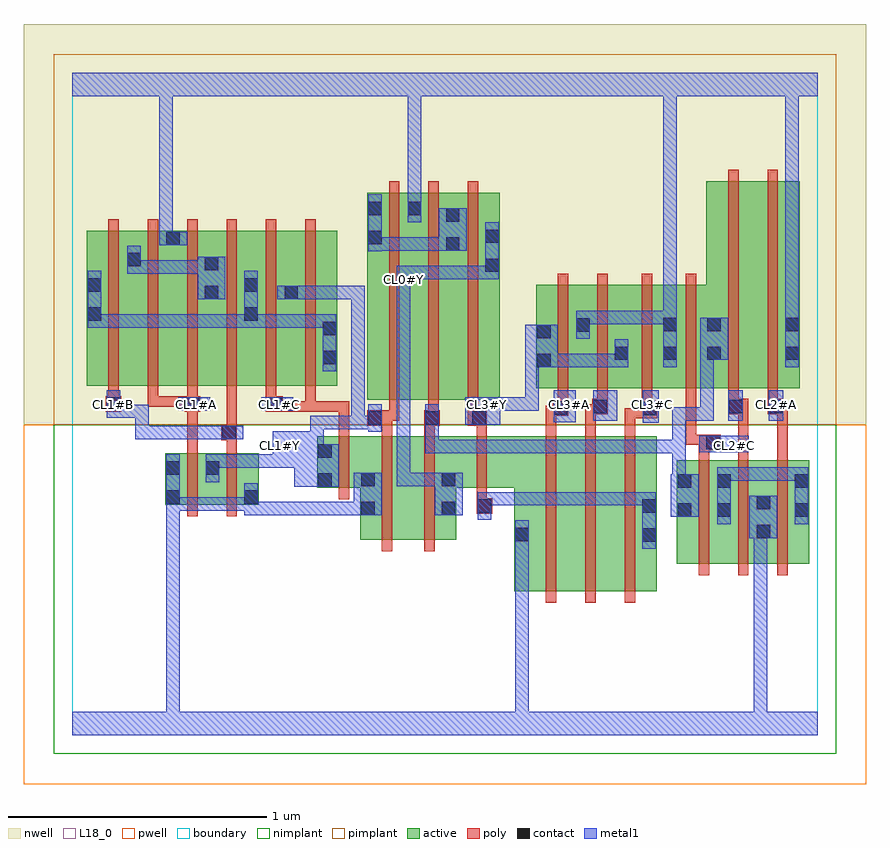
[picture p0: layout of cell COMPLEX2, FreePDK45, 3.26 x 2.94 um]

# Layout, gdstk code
import gdstk
lib = gdstk.Library(unit=1e-6, precision=1e-09)
def R(c, l, rs):  # rectangles x0, y0, x1, y1
    for r in rs: c.add(gdstk.rectangle(r[:2], r[2:], *l))
def A(c, l, x, y, w, h, nx, ny, dx, dy):  # array of equal rectangles
    R(c, l, [(x+i*dx, y+j*dy, x+i*dx+w, y+j*dy+h) for i in range(nx) for j in range(ny)])
active = (1, 0)
pwell = (2, 0)
nwell = (3, 0)
nimplant = (4, 0)
pimplant = (5, 0)
poly = (9, 0)
contact = (10, 0)
metal1 = (11, 0)
L18_0 = (18, 0)
boundary = (235, 0)

complex2 = lib.new_cell('COMPLEX2')
A(complex2, active, 0.056, 1.35, 0.06, 0.6, 3, 1, 0.152, 0)
R(complex2, active, [(1.708,0.556,1.926,1.156), (1.708,0.556,1.768,1.028), (1.926,0.556,2.078,1.156), (2.078,0.556,2.258,1.156), (2.198,0.556,2.258,1.156), (2.336,0.662,2.548,1.062), (2.336,0.662,2.396,1.062), (2.488,0.662,2.7,1.062), (2.64,0.662,2.848,1.062), (2.64,0.662,2.7,0.93), (2.488,0.672,2.548,1.012), (2.788,0.672,2.848,1.062), (1.112,0.756,1.172,1.156), (1.112,0.756,1.304,1.156), (1.304,0.756,1.484,1.156), (1.424,0.756,1.484,1.156), (0.36,0.89,0.42,1.09), (0.36,0.89,0.572,1.09), (0.512,0.89,0.72,1.09), (0.66,0.89,0.72,1.09), (0.512,0.892,0.572,1.062), (0.946,0.956,1.172,1.156), (0.946,0.956,1.006,1.156), (1.424,0.956,1.768,1.156), (1.14,1.296,1.352,2.096), (1.292,1.296,1.5,2.096), (1.44,1.296,1.652,2.096), (1.592,1.296,1.652,2.044), (1.792,1.34,2.004,1.74), (1.792,1.34,1.852,1.74), (1.944,1.34,2.152,1.74), (1.944,1.34,2.004,1.74), (2.092,1.34,2.34,1.74), (2.28,1.34,2.34,1.74), (2.28,1.34,2.51,1.74), (2.45,1.34,2.63,2.14), (2.63,1.34,2.81,2.14), (2.75,1.34,2.81,2.044), (0.056,1.35,0.268,1.95), (0.208,1.35,0.42,1.95), (0.36,1.35,0.568,1.95), (0.508,1.35,0.568,1.95), (0.508,1.35,0.72,1.95), (0.66,1.35,0.72,1.95), (0.66,1.35,0.876,1.95), (0.816,1.35,0.876,1.844), (0.816,1.35,1.024,1.95), (0.964,1.35,1.024,1.844), (1.44,1.388,1.5,2.096), (2.45,1.388,2.51,2.14), (2.092,1.446,2.152,1.644), (1.14,1.452,1.2,2.096), (1.292,1.686,1.352,2.096)])
R(complex2, pwell, [(-0.188,-0.188,3.068,1.2)])
R(complex2, nwell, [(-0.188,1.2,3.068,2.748)])
R(complex2, nimplant, [(-0.072,-0.072,2.952,1.2)])
R(complex2, pimplant, [(-0.072,1.2,2.952,2.632)])
A(complex2, poly, 1.83, 0.512, 0.04, 0.688, 3, 1, 0.152, 0)
A(complex2, poly, 2.42, 0.618, 0.04, 0.488, 3, 1, 0.152, 0)
A(complex2, poly, 1.224, 1.216, 0.04, 0.076, 3, 1, 0.152, 0)
A(complex2, poly, 1.224, 1.252, 0.04, 0.888, 3, 1, 0.152, 0)
A(complex2, poly, 0.14, 1.27, 0.04, 0.076, 3, 1, 0.152, 0)
A(complex2, poly, 0.14, 1.306, 0.04, 0.688, 6, 1, 0.152, 0)
R(complex2, poly, [(1.196,0.712,1.236,1.2), (1.36,0.712,1.4,1.2), (0.444,0.846,0.484,1.134), (0.596,0.846,0.636,1.134), (1.562,0.856,1.622,0.916), (1.562,0.876,1.602,0.952), (1.03,0.912,1.07,1.2), (1.562,0.912,1.602,1.2), (2.42,1.066,2.46,1.142), (2.572,1.066,2.612,1.28), (2.724,1.066,2.764,1.28), (0.444,1.094,0.484,1.29), (0.596,1.094,0.636,1.18), (2.42,1.102,2.506,1.162), (2.37,1.122,2.41,1.336), (2.37,1.122,2.46,1.162), (2.42,1.122,2.46,1.162), (0.576,1.14,0.636,1.2), (0.596,1.16,0.636,1.2), (0.596,1.16,0.636,1.2), (0.596,1.16,0.636,1.346), (1.03,1.16,1.07,1.29), (1.196,1.16,1.236,1.236), (1.36,1.16,1.4,1.236), (1.562,1.16,1.602,1.236), (1.83,1.16,1.87,1.274), (1.982,1.16,2.022,1.28), (2.134,1.16,2.174,1.264), (1.14,1.196,1.236,1.256), (1.36,1.196,1.42,1.256), (1.528,1.196,1.602,1.256), (1.562,1.196,1.602,1.236), (1.562,1.196,1.602,1.236), (1.196,1.216,1.236,1.256), (1.196,1.216,1.264,1.256), (1.376,1.216,1.416,1.256), (1.376,1.216,1.416,1.256), (2.134,1.224,2.24,1.264), (2.2,1.224,2.24,1.264), (2.2,1.224,2.26,1.292), (1.83,1.234,1.896,1.274), (1.856,1.234,1.896,1.274), (1.856,1.234,1.916,1.294), (1.982,1.24,2.048,1.28), (2.008,1.24,2.048,1.28), (2.008,1.24,2.068,1.3), (2.534,1.24,2.612,1.3), (2.572,1.24,2.612,1.28), (2.572,1.24,2.612,1.28), (2.686,1.24,2.746,1.3), (2.706,1.24,2.746,1.28), (2.706,1.24,2.764,1.28), (0.13,1.25,0.19,1.31), (0.434,1.25,0.494,1.31), (0.444,1.25,0.484,1.29), (0.444,1.25,0.484,1.29), (0.748,1.25,0.814,1.31), (0.774,1.25,0.94,1.29), (0.9,1.25,0.94,1.29), (0.9,1.25,0.94,1.29), (0.9,1.25,0.94,1.29), (0.9,1.25,0.94,1.29), (0.9,1.25,0.94,1.346), (0.9,1.25,1.07,1.29), (2.2,1.252,2.24,1.336), (1.876,1.254,1.916,1.336), (2.028,1.26,2.068,1.336), (2.534,1.26,2.574,1.336), (2.686,1.26,2.726,1.336), (0.14,1.27,0.18,1.31), (0.14,1.27,0.18,1.31), (0.292,1.27,0.332,1.31), (0.292,1.27,0.474,1.31), (0.434,1.27,0.474,1.31), (0.434,1.27,0.474,1.31), (0.748,1.27,0.788,1.346), (1.876,1.296,1.916,1.784), (2.028,1.296,2.068,1.784), (2.2,1.296,2.24,1.784), (2.37,1.296,2.41,1.784), (2.534,1.296,2.574,2.184), (2.686,1.296,2.726,2.184)])
R(complex2, contact, [(2.202,0.748,2.254,0.8), (1.712,0.75,1.764,0.802), (2.644,0.762,2.696,0.814), (2.34,0.844,2.392,0.896), (2.492,0.844,2.544,0.896), (2.792,0.844,2.844,0.896), (1.116,0.85,1.168,0.902), (1.428,0.85,1.48,0.902), (1.566,0.86,1.618,0.912), (2.202,0.86,2.254,0.912), (2.644,0.874,2.696,0.926), (0.364,0.894,0.416,0.946), (0.664,0.894,0.716,0.946), (2.34,0.956,2.392,1.008), (2.492,0.956,2.544,1.008), (2.792,0.956,2.844,1.008), (0.95,0.96,1.002,1.012), (1.116,0.962,1.168,1.014), (1.428,0.962,1.48,1.014), (0.364,1.006,0.416,1.058), (0.516,1.006,0.568,1.058), (0.95,1.072,1.002,1.124), (2.45,1.106,2.502,1.158), (0.58,1.144,0.632,1.196), (1.144,1.2,1.196,1.252), (1.364,1.2,1.416,1.252), (1.546,1.2,1.598,1.252), (2.204,1.236,2.256,1.288), (1.86,1.238,1.912,1.29), (2.012,1.244,2.064,1.296), (2.538,1.244,2.59,1.296), (2.69,1.244,2.742,1.296), (0.134,1.254,0.186,1.306), (0.438,1.254,0.49,1.306), (0.758,1.254,0.81,1.306), (1.796,1.422,1.848,1.474), (0.968,1.434,1.02,1.486), (2.096,1.45,2.148,1.502), (2.284,1.45,2.336,1.502), (2.454,1.45,2.506,1.502), (2.754,1.45,2.806,1.502), (1.796,1.534,1.848,1.586), (0.968,1.546,1.02,1.598), (1.948,1.56,2,1.612), (2.284,1.562,2.336,1.614), (2.454,1.562,2.506,1.614), (2.754,1.562,2.806,1.614), (0.06,1.602,0.112,1.654), (0.664,1.602,0.716,1.654), (0.512,1.684,0.564,1.736), (0.82,1.684,0.872,1.736), (0.06,1.714,0.112,1.766), (0.664,1.714,0.716,1.766), (1.596,1.79,1.648,1.842), (0.512,1.796,0.564,1.848), (0.212,1.812,0.264,1.864), (1.444,1.872,1.496,1.924), (0.364,1.894,0.416,1.946), (1.144,1.898,1.196,1.95), (1.596,1.902,1.648,1.954), (1.444,1.984,1.496,2.036), (1.144,2.01,1.196,2.062), (1.296,2.01,1.348,2.062)])
R(complex2, metal1, [(0,0,2.88,0.092), (0.364,0.04,0.416,0.092), (0.364,0.04,0.416,0.092), (0.364,0.04,0.416,0.092), (0.364,0.04,0.416,0.092), (0.364,0.04,0.416,0.092), (0.364,0.04,0.416,0.092), (0.364,0.04,0.416,0.092), (0.364,0.04,0.416,0.092), (0.364,0.04,0.416,0.092), (0.364,0.04,0.416,0.092), (0.364,0.04,0.416,0.092), (0.364,0.04,0.416,0.092), (0.364,0.04,0.416,0.092), (0.364,0.04,0.416,0.092), (0.364,0.04,0.416,0.092), (0.364,0.04,0.416,0.092), (0.364,0.04,0.416,0.918), (1.712,0.04,1.764,0.092), (1.712,0.04,1.764,0.092), (1.712,0.04,1.764,0.092), (1.712,0.04,1.764,0.092), (1.712,0.04,1.764,0.092), (1.712,0.04,1.764,0.092), (1.712,0.04,1.764,0.092), (1.712,0.04,1.764,0.092), (1.712,0.04,1.764,0.774), (2.632,0.04,2.684,0.092), (2.632,0.04,2.684,0.092), (2.632,0.04,2.684,0.092), (2.632,0.04,2.684,0.092), (2.632,0.04,2.684,0.092), (2.632,0.04,2.684,0.092), (2.632,0.04,2.684,0.092), (2.632,0.04,2.684,0.092), (2.632,0.04,2.684,0.092), (2.632,0.04,2.684,0.092), (2.632,0.04,2.684,0.092), (2.632,0.04,2.684,0.092), (2.632,0.04,2.684,0.814), (2.202,0.72,2.254,0.94), (1.712,0.722,1.764,0.83), (2.616,0.762,2.724,0.926), (2.492,0.816,2.544,1.036), (2.792,0.816,2.844,1.036), (1.566,0.832,1.618,0.94), (2.312,0.844,2.42,1.008), (0.664,0.85,0.91,0.902), (0.664,0.85,0.716,0.918), (0.858,0.85,0.91,0.902), (0.858,0.85,0.91,0.902), (0.858,0.85,0.91,0.902), (0.858,0.85,1.14,0.902), (1.088,0.85,1.196,1.014), (1.4,0.85,1.508,1.014), (0.364,0.866,0.416,1.086), (0.664,0.866,0.716,0.918), (0.664,0.866,0.716,0.974), (0.364,0.868,0.416,0.92), (0.364,0.868,0.416,0.92), (0.364,0.868,0.604,0.92), (0.552,0.868,0.604,0.92), (0.552,0.868,0.604,0.92), (0.552,0.868,0.604,0.92), (0.552,0.868,0.716,0.92), (1.566,0.888,1.618,0.94), (1.566,0.888,1.618,0.94), (1.566,0.888,1.618,0.94), (1.566,0.888,1.618,0.94), (1.566,0.888,1.618,0.94), (1.566,0.888,1.618,0.94), (1.566,0.888,1.876,0.94), (1.824,0.888,1.876,0.94), (1.824,0.888,1.876,0.94), (1.824,0.888,1.876,0.94), (1.824,0.888,1.986,0.94), (1.934,0.888,1.986,0.94), (1.934,0.888,1.986,0.94), (1.934,0.888,1.986,0.94), (1.934,0.888,2.11,0.94), (2.058,0.888,2.11,0.94), (2.058,0.888,2.11,0.94), (2.058,0.888,2.11,0.94), (2.058,0.888,2.254,0.94), (2.318,0.956,2.37,1.142), (0.858,0.96,1.03,1.124), (1.254,0.962,1.306,1.014), (1.254,0.962,1.452,1.014), (1.254,0.962,1.306,1.758), (1.4,0.962,1.452,1.014), (1.4,0.962,1.452,1.014), (0.516,0.978,0.568,1.086), (2.492,0.984,2.544,1.036), (2.492,0.984,2.544,1.036), (2.492,0.984,2.654,1.036), (2.602,0.984,2.654,1.036), (2.602,0.984,2.844,1.036), (2.792,0.984,2.844,1.036), (2.792,0.984,2.844,1.036), (0.516,1.034,0.568,1.086), (0.516,1.034,0.568,1.086), (0.516,1.034,0.714,1.086), (0.662,1.034,0.714,1.086), (0.662,1.034,0.714,1.086), (0.662,1.034,0.714,1.086), (0.662,1.034,0.91,1.086), (0.774,1.066,0.91,1.174), (0.858,1.066,0.91,1.118), (1.364,1.09,1.618,1.142), (1.364,1.09,1.416,1.224), (1.566,1.09,1.618,1.142), (1.566,1.09,1.618,1.142), (1.566,1.09,1.618,1.142), (1.566,1.09,1.876,1.142), (1.824,1.09,1.876,1.142), (1.824,1.09,1.876,1.142), (1.824,1.09,1.876,1.142), (1.824,1.09,1.986,1.142), (1.934,1.09,1.986,1.142), (1.934,1.09,1.986,1.142), (1.934,1.09,1.986,1.142), (1.934,1.09,2.11,1.142), (2.058,1.09,2.11,1.142), (2.058,1.09,2.22,1.142), (2.168,1.09,2.22,1.142), (2.168,1.09,2.22,1.142), (2.168,1.09,2.22,1.142), (2.168,1.09,2.37,1.142), (2.318,1.09,2.37,1.142), (2.318,1.09,2.37,1.268), (2.422,1.094,2.614,1.158), (0.858,1.122,0.972,1.174), (0.92,1.122,0.972,1.234), (0.244,1.144,0.296,1.278), (0.244,1.144,0.426,1.196), (0.374,1.144,0.426,1.196), (0.374,1.144,0.426,1.196), (0.374,1.144,0.426,1.196), (0.374,1.144,0.604,1.196), (0.552,1.144,0.604,1.196), (0.552,1.144,0.604,1.196), (0.552,1.144,0.66,1.196), (1.144,1.172,1.196,1.28), (1.364,1.172,1.416,1.224), (1.364,1.172,1.416,1.28), (0.92,1.182,1.02,1.234), (0.968,1.182,1.02,1.234), (0.968,1.182,1.13,1.234), (1.078,1.182,1.13,1.234), (1.078,1.182,1.13,1.234), (1.078,1.182,1.13,1.234), (1.078,1.182,1.13,1.234), (1.078,1.182,1.13,1.234), (1.078,1.182,1.196,1.234), (1.078,1.182,1.13,1.736), (1.518,1.2,1.654,1.306), (2.204,1.208,2.266,1.334), (1.86,1.21,1.946,1.334), (2.012,1.216,2.106,1.334), (2.318,1.216,2.37,1.268), (2.318,1.216,2.434,1.268), (2.382,1.216,2.434,1.268), (2.382,1.216,2.478,1.268), (2.426,1.216,2.478,1.268), (2.426,1.216,2.478,1.502), (2.534,1.216,2.59,1.334), (2.69,1.216,2.746,1.334), (0.134,1.226,0.186,1.334), (0.134,1.226,0.222,1.278), (0.17,1.226,0.222,1.278), (0.17,1.226,0.296,1.278), (0.41,1.254,0.534,1.306), (0.73,1.254,0.854,1.306), (1.602,1.254,1.766,1.306), (1.714,1.254,1.766,1.306), (1.714,1.254,1.802,1.306), (1.75,1.254,1.802,1.306), (1.75,1.254,1.802,1.474), (0.968,1.406,1.02,1.626), (1.75,1.422,1.876,1.586), (1.824,1.422,1.876,1.474), (1.824,1.422,1.876,1.474), (1.824,1.422,1.986,1.474), (1.934,1.422,1.986,1.474), (1.934,1.422,1.986,1.474), (1.934,1.422,1.986,1.474), (1.934,1.422,2.148,1.474), (2.096,1.422,2.148,1.53), (2.284,1.422,2.336,1.642), (2.754,1.422,2.806,1.642), (2.426,1.45,2.534,1.614), (1.948,1.532,2,1.64), (0.06,1.574,0.112,1.626), (0.06,1.574,0.112,1.626), (0.06,1.574,0.112,1.794), (0.06,1.574,0.222,1.626), (0.17,1.574,0.222,1.626), (0.17,1.574,0.296,1.626), (0.244,1.574,0.296,1.626), (0.244,1.574,0.406,1.626), (0.354,1.574,0.406,1.626), (0.354,1.574,0.406,1.626), (0.354,1.574,0.406,1.626), (0.354,1.574,0.536,1.626), (0.484,1.574,0.536,1.626), (0.484,1.574,0.536,1.626), (0.484,1.574,0.536,1.626), (0.484,1.574,0.716,1.626), (0.664,1.574,0.716,1.626), (0.664,1.574,0.716,1.626), (0.664,1.574,0.716,1.794), (0.664,1.574,0.91,1.626), (0.858,1.574,0.91,1.626), (0.858,1.574,0.91,1.626), (0.858,1.574,0.91,1.626), (0.858,1.574,1.02,1.626), (1.948,1.588,2,1.64), (1.948,1.588,2,1.64), (1.948,1.588,2.11,1.64), (2.058,1.588,2.11,1.64), (2.058,1.588,2.11,1.64), (2.058,1.588,2.11,1.64), (2.058,1.588,2.336,1.64), (2.284,1.59,2.336,1.642), (2.284,1.59,2.336,1.642), (2.284,1.59,2.336,2.52), (2.754,1.59,2.806,2.52), (0.484,1.684,0.592,1.848), (0.792,1.684,0.9,1.736), (0.848,1.684,0.9,1.736), (0.848,1.684,0.9,1.736), (0.848,1.684,1.02,1.736), (0.968,1.684,1.02,1.736), (0.968,1.684,1.13,1.736), (1.078,1.684,1.13,1.736), (1.254,1.706,1.306,1.814), (1.254,1.762,1.306,1.814), (1.254,1.762,1.306,1.814), (1.254,1.762,1.306,1.814), (1.254,1.762,1.306,1.814), (1.254,1.762,1.306,1.814), (1.254,1.762,1.306,1.814), (1.254,1.762,1.508,1.814), (1.456,1.762,1.508,1.814), (1.456,1.762,1.648,1.814), (1.596,1.762,1.648,1.814), (1.596,1.762,1.648,1.814), (1.596,1.762,1.648,1.982), (0.212,1.784,0.264,1.892), (0.212,1.784,0.296,1.836), (0.244,1.784,0.296,1.836), (0.244,1.784,0.426,1.836), (0.374,1.784,0.426,1.836), (0.374,1.784,0.426,1.836), (0.374,1.784,0.426,1.836), (0.374,1.784,0.536,1.836), (1.144,1.87,1.196,2.09), (1.144,1.872,1.196,1.924), (1.144,1.872,1.196,1.924), (1.144,1.872,1.306,1.924), (1.254,1.872,1.306,1.924), (1.254,1.872,1.306,1.924), (1.254,1.872,1.306,1.924), (1.254,1.872,1.468,1.924), (1.416,1.872,1.524,2.036), (0.336,1.894,0.388,1.946), (0.336,1.894,0.388,1.946), (0.336,1.894,0.388,1.946), (0.336,1.894,0.388,1.946), (0.336,1.894,0.444,1.946), (0.336,1.894,0.388,2.52), (1.296,1.982,1.348,2.09), (1.296,2.038,1.348,2.09), (1.296,2.038,1.348,2.09), (1.296,2.038,1.348,2.09), (1.296,2.038,1.348,2.09), (1.296,2.038,1.348,2.52), (0,2.468,2.88,2.56), (0.336,2.468,0.388,2.52), (0.336,2.468,0.388,2.52), (0.336,2.468,0.388,2.52), (0.336,2.468,0.388,2.52), (0.336,2.468,0.388,2.52), (0.336,2.468,0.388,2.52), (0.336,2.468,0.388,2.52), (0.336,2.468,0.388,2.52), (1.296,2.468,1.348,2.52), (1.296,2.468,1.348,2.52), (1.296,2.468,1.348,2.52), (1.296,2.468,1.348,2.52), (2.284,2.468,2.336,2.52), (2.284,2.468,2.336,2.52), (2.284,2.468,2.336,2.52), (2.284,2.468,2.336,2.52), (2.284,2.468,2.336,2.52), (2.284,2.468,2.336,2.52), (2.284,2.468,2.336,2.52), (2.284,2.468,2.336,2.52), (2.284,2.468,2.336,2.52), (2.284,2.468,2.336,2.52), (2.284,2.468,2.336,2.52), (2.284,2.468,2.336,2.52), (2.284,2.468,2.336,2.52), (2.284,2.468,2.336,2.52), (2.754,2.468,2.806,2.52), (2.754,2.468,2.806,2.52), (2.754,2.468,2.806,2.52), (2.754,2.468,2.806,2.52), (2.754,2.468,2.806,2.52), (2.754,2.468,2.806,2.52), (2.754,2.468,2.806,2.52), (2.754,2.468,2.806,2.52)])
A(complex2, L18_0, 0.134, 1.254, 0.052, 0.052, 3, 1, 0.32, 0)
A(complex2, L18_0, 1.894, 1.254, 0.052, 0.052, 3, 1, 0.16, 0)
R(complex2, L18_0, [(0,0,2.88,0.092), (0.364,0.04,0.416,0.092), (0.364,0.04,0.416,0.092), (0.364,0.04,0.416,0.092), (0.364,0.04,0.416,0.092), (0.364,0.04,0.416,0.092), (0.364,0.04,0.416,0.092), (0.364,0.04,0.416,0.092), (0.364,0.04,0.416,0.092), (0.364,0.04,0.416,0.092), (0.364,0.04,0.416,0.092), (0.364,0.04,0.416,0.092), (0.364,0.04,0.416,0.092), (0.364,0.04,0.416,0.092), (0.364,0.04,0.416,0.092), (0.364,0.04,0.416,0.092), (0.364,0.04,0.416,0.092), (0.364,0.04,0.416,0.918), (1.712,0.04,1.764,0.092), (1.712,0.04,1.764,0.092), (1.712,0.04,1.764,0.092), (1.712,0.04,1.764,0.092), (1.712,0.04,1.764,0.092), (1.712,0.04,1.764,0.092), (1.712,0.04,1.764,0.092), (1.712,0.04,1.764,0.092), (1.712,0.04,1.764,0.774), (2.632,0.04,2.684,0.092), (2.632,0.04,2.684,0.092), (2.632,0.04,2.684,0.092), (2.632,0.04,2.684,0.092), (2.632,0.04,2.684,0.092), (2.632,0.04,2.684,0.092), (2.632,0.04,2.684,0.092), (2.632,0.04,2.684,0.092), (2.632,0.04,2.684,0.092), (2.632,0.04,2.684,0.092), (2.632,0.04,2.684,0.092), (2.632,0.04,2.684,0.092), (2.632,0.04,2.684,0.814), (2.202,0.72,2.254,0.94), (1.712,0.722,1.764,0.83), (2.616,0.762,2.724,0.926), (1.566,0.832,1.618,0.94), (0.664,0.85,0.716,0.918), (0.664,0.85,0.91,0.902), (0.858,0.85,0.91,0.902), (0.858,0.85,0.91,0.902), (0.858,0.85,0.91,0.902), (0.858,0.85,1.14,0.902), (1.088,0.85,1.196,1.014), (1.4,0.85,1.508,1.014), (0.364,0.866,0.416,1.086), (0.664,0.866,0.716,0.974), (0.664,0.866,0.716,0.918), (0.364,0.868,0.416,0.92), (0.364,0.868,0.416,0.92), (0.364,0.868,0.604,0.92), (0.552,0.868,0.604,0.92), (0.552,0.868,0.604,0.92), (0.552,0.868,0.604,0.92), (0.552,0.868,0.716,0.92), (1.566,0.888,1.618,0.94), (1.566,0.888,1.618,0.94), (1.566,0.888,1.618,0.94), (1.566,0.888,1.618,0.94), (1.566,0.888,1.618,0.94), (1.566,0.888,1.618,0.94), (1.566,0.888,1.876,0.94), (1.824,0.888,1.876,0.94), (1.824,0.888,1.876,0.94), (1.824,0.888,1.876,0.94), (1.824,0.888,1.986,0.94), (1.934,0.888,1.986,0.94), (1.934,0.888,1.986,0.94), (1.934,0.888,1.986,0.94), (1.934,0.888,2.11,0.94), (2.058,0.888,2.11,0.94), (2.058,0.888,2.11,0.94), (2.058,0.888,2.11,0.94), (2.058,0.888,2.254,0.94), (0.858,0.96,1.03,1.124), (1.254,0.962,1.306,1.014), (1.254,0.962,1.452,1.014), (1.254,0.962,1.306,1.758), (1.4,0.962,1.452,1.014), (1.4,0.962,1.452,1.014), (0.516,0.978,0.568,1.086), (0.516,1.034,0.568,1.086), (0.516,1.034,0.568,1.086), (0.516,1.034,0.714,1.086), (0.662,1.034,0.714,1.086), (0.662,1.034,0.714,1.086), (0.662,1.034,0.714,1.086), (0.662,1.034,0.91,1.086), (0.774,1.066,0.91,1.174), (0.858,1.066,0.91,1.118), (0.774,1.094,0.826,1.146), (2.422,1.094,2.614,1.158), (2.534,1.094,2.586,1.146), (0.858,1.122,0.972,1.174), (0.92,1.122,0.972,1.234), (0.244,1.144,0.296,1.278), (0.244,1.144,0.426,1.196), (0.374,1.144,0.426,1.196), (0.374,1.144,0.426,1.196), (0.374,1.144,0.426,1.196), (0.374,1.144,0.604,1.196), (0.552,1.144,0.604,1.196), (0.552,1.144,0.604,1.196), (0.552,1.144,0.66,1.196), (1.144,1.172,1.196,1.28), (0.92,1.182,1.02,1.234), (0.968,1.182,1.02,1.234), (0.968,1.182,1.13,1.234), (1.078,1.182,1.13,1.234), (1.078,1.182,1.13,1.234), (1.078,1.182,1.13,1.234), (1.078,1.182,1.13,1.234), (1.078,1.182,1.13,1.234), (1.078,1.182,1.13,1.736), (1.078,1.182,1.196,1.234), (1.518,1.2,1.654,1.306), (2.204,1.208,2.266,1.334), (1.86,1.21,1.946,1.334), (2.012,1.216,2.106,1.334), (2.534,1.216,2.59,1.334), (2.69,1.216,2.746,1.334), (0.134,1.226,0.186,1.334), (0.134,1.226,0.222,1.278), (0.17,1.226,0.222,1.278), (0.17,1.226,0.296,1.278), (0.41,1.254,0.534,1.306), (0.73,1.254,0.854,1.306), (1.574,1.254,1.626,1.306), (1.602,1.254,1.766,1.306), (1.714,1.254,1.766,1.306), (1.714,1.254,1.802,1.306), (1.75,1.254,1.802,1.306), (1.75,1.254,1.802,1.474), (2.534,1.254,2.586,1.306), (2.694,1.254,2.746,1.306), (1.75,1.422,1.876,1.586), (1.824,1.422,1.876,1.474), (1.824,1.422,1.876,1.474), (1.824,1.422,1.986,1.474), (1.934,1.422,1.986,1.474), (1.934,1.422,1.986,1.474), (1.934,1.422,1.986,1.474), (1.934,1.422,2.148,1.474), (2.096,1.422,2.148,1.53), (2.284,1.422,2.336,1.642), (2.754,1.422,2.806,1.642), (1.948,1.532,2,1.64), (1.948,1.588,2,1.64), (1.948,1.588,2,1.64), (1.948,1.588,2.11,1.64), (2.058,1.588,2.11,1.64), (2.058,1.588,2.11,1.64), (2.058,1.588,2.11,1.64), (2.058,1.588,2.336,1.64), (2.284,1.59,2.336,1.642), (2.284,1.59,2.336,1.642), (2.284,1.59,2.336,2.52), (2.754,1.59,2.806,2.52), (0.792,1.684,0.9,1.736), (0.848,1.684,0.9,1.736), (0.848,1.684,0.9,1.736), (0.848,1.684,1.02,1.736), (0.968,1.684,1.02,1.736), (0.968,1.684,1.13,1.736), (1.078,1.684,1.13,1.736), (1.254,1.706,1.306,1.814), (1.254,1.734,1.306,1.786), (1.254,1.762,1.306,1.814), (1.254,1.762,1.306,1.814), (1.254,1.762,1.306,1.814), (1.254,1.762,1.306,1.814), (1.254,1.762,1.306,1.814), (1.254,1.762,1.306,1.814), (1.254,1.762,1.508,1.814), (1.456,1.762,1.508,1.814), (1.456,1.762,1.648,1.814), (1.596,1.762,1.648,1.814), (1.596,1.762,1.648,1.814), (1.596,1.762,1.648,1.982), (0.336,1.894,0.388,1.946), (0.336,1.894,0.388,1.946), (0.336,1.894,0.388,1.946), (0.336,1.894,0.388,1.946), (0.336,1.894,0.444,1.946), (0.336,1.894,0.388,2.52), (1.296,1.982,1.348,2.09), (1.296,2.038,1.348,2.09), (1.296,2.038,1.348,2.09), (1.296,2.038,1.348,2.09), (1.296,2.038,1.348,2.09), (1.296,2.038,1.348,2.52), (0,2.468,2.88,2.56), (0.336,2.468,0.388,2.52), (0.336,2.468,0.388,2.52), (0.336,2.468,0.388,2.52), (0.336,2.468,0.388,2.52), (0.336,2.468,0.388,2.52), (0.336,2.468,0.388,2.52), (0.336,2.468,0.388,2.52), (0.336,2.468,0.388,2.52), (1.296,2.468,1.348,2.52), (1.296,2.468,1.348,2.52), (1.296,2.468,1.348,2.52), (1.296,2.468,1.348,2.52), (2.284,2.468,2.336,2.52), (2.284,2.468,2.336,2.52), (2.284,2.468,2.336,2.52), (2.284,2.468,2.336,2.52), (2.284,2.468,2.336,2.52), (2.284,2.468,2.336,2.52), (2.284,2.468,2.336,2.52), (2.284,2.468,2.336,2.52), (2.284,2.468,2.336,2.52), (2.284,2.468,2.336,2.52), (2.284,2.468,2.336,2.52), (2.284,2.468,2.336,2.52), (2.284,2.468,2.336,2.52), (2.284,2.468,2.336,2.52), (2.754,2.468,2.806,2.52), (2.754,2.468,2.806,2.52), (2.754,2.468,2.806,2.52), (2.754,2.468,2.806,2.52), (2.754,2.468,2.806,2.52), (2.754,2.468,2.806,2.52), (2.754,2.468,2.806,2.52), (2.754,2.468,2.806,2.52)])
R(complex2, boundary, [(0,0,2.88,2.56)])
complex2.add(gdstk.Label('CL0#Y', (1.28,1.76), layer=11, texttype=0))
complex2.add(gdstk.Label('CL1#A', (0.48,1.28), layer=11, texttype=0))
complex2.add(gdstk.Label('CL1#B', (0.16,1.28), layer=11, texttype=0))
complex2.add(gdstk.Label('CL1#C', (0.8,1.28), layer=11, texttype=0))
complex2.add(gdstk.Label('CL1#Y', (0.8,1.12), layer=11, texttype=0))
complex2.add(gdstk.Label('CL2#A', (2.72,1.28), layer=11, texttype=0))
complex2.add(gdstk.Label('CL2#B', (2.56,1.28), layer=11, texttype=0))
complex2.add(gdstk.Label('CL2#C', (2.56,1.12), layer=11, texttype=0))
complex2.add(gdstk.Label('CL3#A', (1.92,1.28), layer=11, texttype=0))
complex2.add(gdstk.Label('CL3#B', (2.08,1.28), layer=11, texttype=0))
complex2.add(gdstk.Label('CL3#C', (2.24,1.28), layer=11, texttype=0))
complex2.add(gdstk.Label('CL3#Y', (1.6,1.28), layer=11, texttype=0))

lib.write_gds('COMPLEX2.gds')
